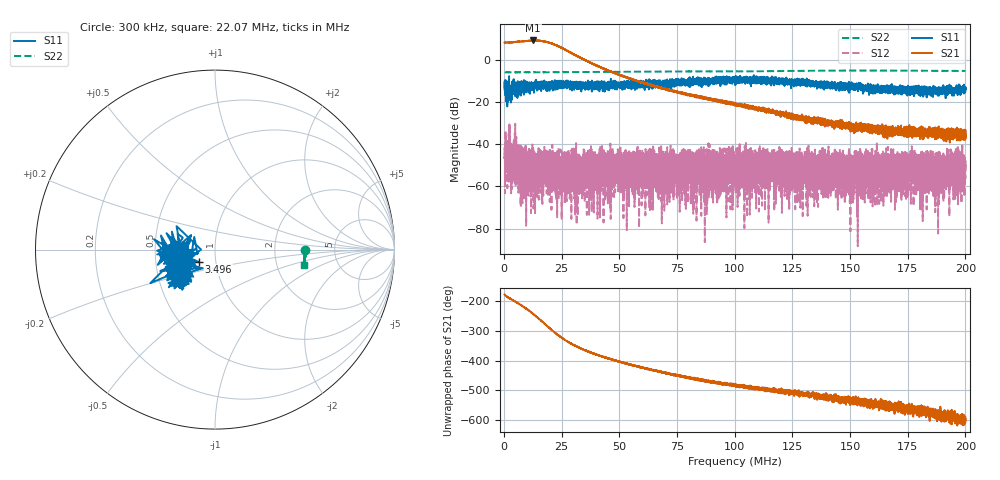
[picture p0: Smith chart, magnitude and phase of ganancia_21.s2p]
# Hz S DB R 50
! CMT, M5065, 19127446, 24.2.4/2
! Date: 11/8/2024 2:55:55 PM
! Data: Format (Calibration Info)
! Freq	S11:dB/Ang(F2)	S21:dB/Ang(F2)	S12:dB/Ang(F2)	S22:dB/Ang(F2)
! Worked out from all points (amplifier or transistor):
!   9000 points, 300 kHz to 200 MHz, reference 50 ohm
!   highest |S21| = 9.1 dB at 12.73 MHz (marker M1)
!   |S21| within 3 dB of that: start of sweep to 24.05 MHz
!   unconditionally stable (mu >= 1): start of sweep to end of sweep
!   at 33.59 MHz: K = 475.12, MAG = 2.2 dB, |S12| = -63.3 dB
!   at 100.2 MHz: K = 1934.61, MAG = -20.1 dB, |S12| = -53.5 dB
!   at 200 MHz: K = 6242.63, MAG = -35.4 dB, |S12| = -48.3 dB
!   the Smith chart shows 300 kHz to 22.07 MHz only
!   S11 on the Smith chart (normalised r, x): 300 kHz: 0.67, +0.02; 3.496 MHz: 0.83, -0.12; 22.07 MHz: 0.63, -0.25
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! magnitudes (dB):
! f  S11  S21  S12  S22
! 300 kHz  -14.1  8.0  -46.2  -6.0
! 3.496 MHz  -19.0  8.3  -58.3  -6.0
! 12.73 MHz  -10.9  9.1  -50.6  -6.0
! 22.07 MHz  -11.4  7.1  -46.7  -5.9
! 33.59 MHz  -12.2  0.6  -63.3  -5.9
! 50.27 MHz  -12.5  -7.3  -45.1  -5.8
! 52.36 MHz  -11.8  -8.3  -52.6  -5.8
! 57.4 MHz  -11.6  -10.0  -47.7  -5.7
! 63.66 MHz  -10.7  -12.1  -50.1  -5.7
! 66.87 MHz  -10.7  -13.0  -54.1  -5.7
! 75.28 MHz  -10.9  -15.1  -56.4  -5.6
! 79.92 MHz  -10.8  -16.8  -55.2  -5.6
! 87.13 MHz  -10.5  -18.4  -52.1  -5.6
! 90.66 MHz  -9.7  -18.8  -47.8  -5.6
! 100.2 MHz  -10.5  -21.9  -53.5  -5.6
! 133.4 MHz  -10.7  -28.3  -51.8  -5.3
! 166.7 MHz  -13.3  -35.5  -49.1  -5.2
! 176.5 MHz  -15.0  -31.9  -57.9  -5.2
! 180.8 MHz  -14.9  -34.5  -55.4  -5.3
! 184.3 MHz  -15.5  -36.3  -57.8  -5.3
! 195.6 MHz  -14.2  -35.5  -66.0  -5.3
! 200 MHz  -13.3  -37.1  -48.3  -5.4
